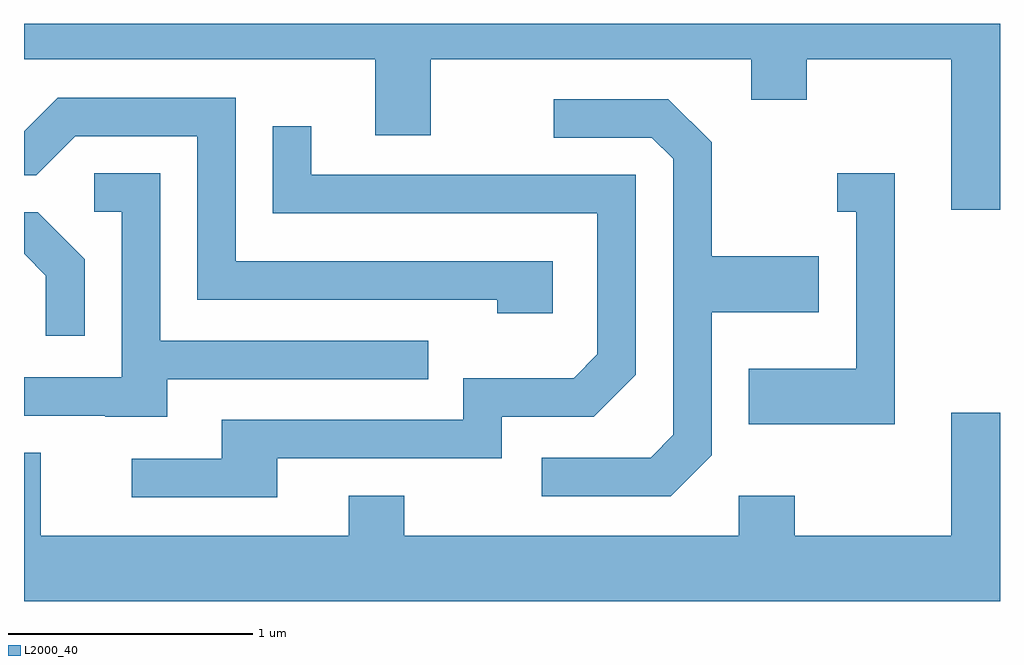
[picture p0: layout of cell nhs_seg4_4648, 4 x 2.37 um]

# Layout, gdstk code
import gdstk
lib = gdstk.Library(unit=1e-6, precision=1e-09)
def P(c, l, *ps):  # polygons
    for p in ps: c.add(gdstk.Polygon(p, *l))
L2000_40 = (2000, 40)

nhs_seg4_4648 = lib.new_cell('nhs_seg4_4648')
P(nhs_seg4_4648, L2000_40, [(325.611,1305.982),(321.611,1305.982),(321.611,1305.836),(323.051,1305.836),(323.051,1305.526),(323.279,1305.526),(323.279,1305.836),(324.591,1305.836),(324.591,1305.671),(324.819,1305.671),(324.819,1305.836),(325.411,1305.836),(325.411,1305.221),(325.611,1305.221)],
  [(323.779,1305.009),(322.479,1305.009),(322.479,1305.679),(321.749,1305.679),(321.611,1305.541),(321.611,1305.361),(321.662,1305.361),(321.822,1305.521),(322.321,1305.521),(322.321,1304.851),(323.551,1304.851),(323.551,1304.796),(323.779,1304.796)],
  [(324.429,1304.214),(324.429,1304.801),(324.869,1304.801),(324.869,1305.029),(324.429,1305.029),(324.429,1305.497),(324.252,1305.674),(323.783,1305.674),(323.783,1305.516),(324.184,1305.516),(324.271,1305.429),(324.271,1304.297),(324.179,1304.204),(323.733,1304.204),(323.733,1304.046),(324.262,1304.046)],
  [(322.649,1304.201),(323.569,1304.201),(323.569,1304.371),(323.947,1304.371),(324.119,1304.544),(324.119,1305.364),(322.789,1305.364),(322.789,1305.563),(322.631,1305.563),(322.631,1305.206),(323.961,1305.206),(323.961,1304.627),(323.864,1304.529),(323.411,1304.529),(323.411,1304.359),(322.421,1304.359),(322.421,1304.199),(322.053,1304.199),(322.053,1304.041),(322.649,1304.041)],
  [(322.199,1304.526),(323.268,1304.526),(323.268,1304.684),(322.169,1304.684),(322.169,1305.369),(321.898,1305.369),(321.898,1305.211),(322.011,1305.211),(322.011,1304.534),(321.611,1304.534),(321.611,1304.376),(321.945,1304.376),(321.945,1304.371),(322.199,1304.371)],
  [(325.179,1305.369),(324.943,1305.369),(324.943,1305.211),(325.021,1305.211),(325.021,1304.569),(324.581,1304.569),(324.581,1304.341),(325.179,1304.341)],
  [(321.859,1305.017),(321.667,1305.209),(321.611,1305.209),(321.611,1305.039),(321.701,1304.949),(321.701,1304.703),(321.859,1304.703)],
  [(325.611,1304.389),(325.411,1304.389),(325.411,1303.884),(324.769,1303.884),(324.769,1304.049),(324.541,1304.049),(324.541,1303.884),(323.169,1303.884),(323.169,1304.049),(322.941,1304.049),(322.941,1303.884),(321.679,1303.884),(321.679,1304.224),(321.611,1304.224),(321.611,1303.616),(325.611,1303.616)])

lib.write_gds('nhs_seg4_4648.gds')
